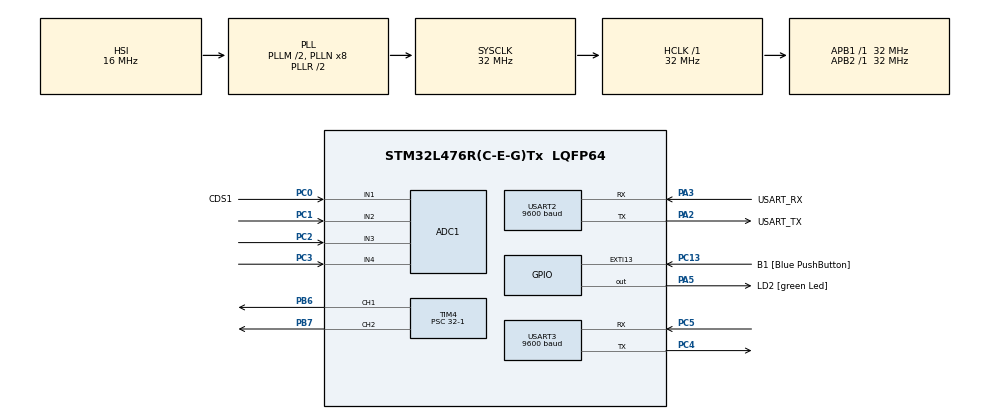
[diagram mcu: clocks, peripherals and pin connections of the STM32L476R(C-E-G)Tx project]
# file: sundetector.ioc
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ADC1.Channel-10\#ChannelRegularConversion=ADC_CHANNEL_2
ADC1.Channel-11\#ChannelRegularConversion=ADC_CHANNEL_3
ADC1.Channel-12\#ChannelRegularConversion=ADC_CHANNEL_4
ADC1.Channel-9\#ChannelRegularConversion=ADC_CHANNEL_1
ADC1.ClockPrescaler=ADC_CLOCK_ASYNC_DIV1
ADC1.ContinuousConvMode=ENABLE
ADC1.DMAContinuousRequests=ENABLE
ADC1.EOCSelection=ADC_EOC_SINGLE_CONV
ADC1.EnableRegularConversion=ENABLE
ADC1.NbrOfConversion=4
ADC1.NbrOfConversionFlag=1
ADC1.OffsetNumber-10\#ChannelRegularConversion=ADC_OFFSET_NONE
ADC1.OffsetNumber-11\#ChannelRegularConversion=ADC_OFFSET_NONE
ADC1.OffsetNumber-12\#ChannelRegularConversion=ADC_OFFSET_NONE
ADC1.OffsetNumber-9\#ChannelRegularConversion=ADC_OFFSET_NONE
ADC1.Rank-10\#ChannelRegularConversion=2
ADC1.Rank-11\#ChannelRegularConversion=3
ADC1.Rank-12\#ChannelRegularConversion=4
ADC1.Rank-9\#ChannelRegularConversion=1
ADC1.SamplingTime-10\#ChannelRegularConversion=ADC_SAMPLETIME_92CYCLES_5
ADC1.SamplingTime-11\#ChannelRegularConversion=ADC_SAMPLETIME_92CYCLES_5
ADC1.SamplingTime-12\#ChannelRegularConversion=ADC_SAMPLETIME_92CYCLES_5
ADC1.SamplingTime-9\#ChannelRegularConversion=ADC_SAMPLETIME_92CYCLES_5
ADC1.master=1
Dma.ADC1.0.Direction=DMA_PERIPH_TO_MEMORY
Dma.ADC1.0.Instance=DMA1_Channel1
Dma.ADC1.0.MemDataAlignment=DMA_MDATAALIGN_HALFWORD
Dma.ADC1.0.MemInc=DMA_MINC_ENABLE
Dma.ADC1.0.Mode=DMA_CIRCULAR
Dma.ADC1.0.PeriphDataAlignment=DMA_PDATAALIGN_HALFWORD
Dma.ADC1.0.PeriphInc=DMA_PINC_DISABLE
Dma.ADC1.0.Priority=DMA_PRIORITY_LOW
Dma.Request0=ADC1
Mcu.Family=STM32L4
Mcu.Name=STM32L476R(C-E-G)Tx
Mcu.Package=LQFP64
NVIC.DMA1_Channel1_IRQn=true\:0\:0\:false\:false\:true\:false\:true
NVIC.PriorityGroup=NVIC_PRIORITYGROUP_4
NVIC.TIM4_IRQn=true\:0\:0\:false\:false\:true\:true\:true
NVIC.USART2_IRQn=true\:0\:0\:false\:false\:true\:true\:false
NVIC.USART3_IRQn=true\:0\:0\:false\:false\:true\:true\:false
PA13\ (JTMS-SWDIO).GPIO_Label=TMS
PA13\ (JTMS-SWDIO).Mode=Serial_Wire
PA13\ (JTMS-SWDIO).Signal=SYS_JTMS-SWDIO
PA14\ (JTCK-SWCLK).GPIO_Label=TCK
PA14\ (JTCK-SWCLK).Mode=Serial_Wire
PA14\ (JTCK-SWCLK).Signal=SYS_JTCK-SWCLK
PA2.GPIO_Label=USART_TX
PA2.GPIO_Mode=GPIO_MODE_AF_PP
PA2.GPIO_PuPd=GPIO_NOPULL
PA2.GPIO_Speed=GPIO_SPEED_FREQ_VERY_HIGH
PA2.Mode=Asynchronous
PA2.Signal=USART2_TX
PA3.GPIO_Label=USART_RX
PA3.GPIO_Mode=GPIO_MODE_AF_PP
PA3.GPIO_PuPd=GPIO_NOPULL
PA3.GPIO_Speed=GPIO_SPEED_FREQ_VERY_HIGH
PA3.Mode=Asynchronous
PA3.Signal=USART2_RX
PA5.GPIO_Label=LD2 [green Led]
PA5.GPIO_ModeDefaultOutputPP=GPIO_MODE_OUTPUT_PP
PA5.GPIO_PuPd=GPIO_NOPULL
PA5.GPIO_Speed=GPIO_SPEED_FREQ_LOW
PA5.Signal=GPIO_Output
PB3\ (JTDO-TRACESWO).GPIO_Label=SWO
PB3\ (JTDO-TRACESWO).Signal=SYS_JTDO-SWO
PB6.Signal=S_TIM4_CH1
PB7.Signal=S_TIM4_CH2
PC0.GPIO_Label=CDS1
PC0.Signal=ADCx_IN1
PC1.Signal=ADCx_IN2
PC13.GPIO_Label=B1 [Blue PushButton]
PC13.GPIO_ModeDefaultEXTI=GPIO_MODE_IT_FALLING
PC13.GPIO_PuPd=GPIO_NOPULL
PC13.Signal=GPXTI13
PC14-OSC32_IN\ (PC14).Mode=LSE-External-Oscillator
PC14-OSC32_IN\ (PC14).Signal=RCC_OSC32_IN
PC15-OSC32_OUT\ (PC15).Mode=LSE-External-Oscillator
PC15-OSC32_OUT\ (PC15).Signal=RCC_OSC32_OUT
PC2.Signal=ADCx_IN3
PC3.Signal=ADCx_IN4
PC4.Mode=Asynchronous
PC4.Signal=USART3_TX
PC5.Mode=Asynchronous
PC5.Signal=USART3_RX
PH0-OSC_IN\ (PH0).Signal=RCC_OSC_IN
PH1-OSC_OUT\ (PH1).Signal=RCC_OSC_OUT
ProjectManager.HeapSize=0x200
ProjectManager.StackSize=0x400
ProjectManager.TargetToolchain=STM32CubeIDE
RCC.ADCFreq_Value=8000000
RCC.AHBFreq_Value=32000000
RCC.APB1Freq_Value=32000000
RCC.APB1TimFreq_Value=32000000
RCC.APB2Freq_Value=32000000
RCC.APB2TimFreq_Value=32000000
RCC.CortexFreq_Value=32000000
RCC.HCLKFreq_Value=32000000
RCC.HSE_VALUE=8000000
RCC.HSI_VALUE=16000000
RCC.MSI_VALUE=4000000
RCC.PLLM=2
RCC.PLLSAI1R=RCC_PLLR_DIV8
RCC.PLLSourceVirtual=RCC_PLLSOURCE_HSI
RCC.PREFETCH_ENABLE=1
RCC.SYSCLKFreq_VALUE=32000000
RCC.SYSCLKSource=RCC_SYSCLKSOURCE_PLLCLK
RCC.USBFreq_Value=32000000
RCC.VCOOutputFreq_Value=64000000
SH.ADCx_IN1.0=ADC1_IN1,IN1-Single-Ended
SH.ADCx_IN2.0=ADC1_IN2,IN2-Single-Ended
SH.ADCx_IN3.0=ADC1_IN3,IN3-Single-Ended
SH.ADCx_IN4.0=ADC1_IN4,IN4-Single-Ended
SH.S_TIM4_CH1.0=TIM4_CH1,PWM Generation1 CH1
SH.S_TIM4_CH2.0=TIM4_CH2,PWM Generation2 CH2
TIM4.AutoReloadPreload=TIM_AUTORELOAD_PRELOAD_ENABLE
TIM4.Channel-PWM\ Generation1\ CH1=TIM_CHANNEL_1
TIM4.Channel-PWM\ Generation2\ CH2=TIM_CHANNEL_2
TIM4.OCPolarity_1=TIM_OCPOLARITY_HIGH
TIM4.Period=20000-1
TIM4.Prescaler=32-1
TIM4.Pulse-PWM\ Generation1\ CH1=1750
TIM4.Pulse-PWM\ Generation2\ CH2=2000
USART2.BaudRate=9600
USART2.VirtualMode-Asynchronous=VM_ASYNC
USART3.BaudRate=9600
USART3.VirtualMode-Asynchronous=VM_ASYNC
VP_TIM4_VS_ClockSourceINT.Mode=Internal
board=NUCLEO-L476RG

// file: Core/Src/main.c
/* USER CODE BEGIN Header */
/**
  ******************************************************************************
  * @file           : main.c
  * @brief          : Main program body
  ******************************************************************************
  * @attention
  *
  * <h2><center>&copy; Copyright (c) 2021 STMicroelectronics.
  * All rights reserved.</center></h2>
  *
  * This software component is licensed by ST under BSD 3-Clause license,
  * the "License"; You may not use this file except in compliance with the
  * License. You may obtain a copy of the License at:
  *                        opensource.org/licenses/BSD-3-Clause
  *
  ******************************************************************************
  */
/* USER CODE END Header */
#include "main.h"

/* USER CODE BEGIN Includes */
#include <stdio.h>
#include <string.h>
#include "rb.h"
#include "DFRobot_queue.h"
//#include "DFRobot_wifi_iot.h"
/* USER CODE END Includes */

/* USER CODE BEGIN PD */
#define WIFISSID     "woo"
#define WIFIPWS      "12345678"

#define SERVER        "iot.dfrobot.com.cn"  //服务器地址
#define PORT          "1883"                //端口号
#define DEVICENAME    "rHpr0RcWR"           //用户名称
#define DEVICESECRET  "9NtrAg5ZRz"          //用户登录密码
#define TOPIC         "OSpwrHHMg"           //订阅频道
/* USER CODE END PD */

ADC_HandleTypeDef hadc1;
DMA_HandleTypeDef hdma_adc1;

TIM_HandleTypeDef htim4;

UART_HandleTypeDef huart2;
UART_HandleTypeDef huart3;

/* USER CODE BEGIN PV */
volatile uint16_t uwADCxConvertedValue[4];

RingFifo_t gtUart2Fifo;

/* USER CODE END PV */

void SystemClock_Config(void);
static void MX_GPIO_Init(void);
static void MX_USART2_UART_Init(void);
static void MX_TIM4_Init(void);
static void MX_DMA_Init(void);
static void MX_ADC1_Init(void);
static void MX_USART3_UART_Init(void);

/* USER CODE BEGIN 0 */
#ifdef __GNUC__
#define PUTCHAR_PROTOTYPE int __io_putchar(int ch)
#else
#define PUTCHAR_PROTOTYPE int fputc(int ch, FILE *f)
#endif /* __GNUC__ */

/**
  * @brief  Retargets the C library printf function to the USART.
  * @param  None
  * @retval None
  */
PUTCHAR_PROTOTYPE
{
  /* Place your implementation of fputc here */
  /* e.g. write a character to the UART2 and Loop until the end of transmission */
  if (ch == '\n')
    HAL_UART_Transmit (&huart2, (uint8_t*) "\r", 1, 0xFFFF);
  HAL_UART_Transmit (&huart2, (uint8_t*) &ch, 1, 0xFFFF);

  return ch;
}

char *splitdata[5];
void splitString(void){
	uint8_t count = 0;
	static struct sQueueData *p = NULL;
	p = cuappDequeue();
	if(p != NULL){
		splitdata[count] = strtok((char*)p->data, "|");
		while(splitdata[count])
		{
			splitdata[++count] = strtok(NULL, "|");
		}
	}
	free(p);
}
void mqtt(const char* url, const char *port, const char *iotid, const char *iotpwd , const char *topic)
{

	uint8_t state = 1;
	uint8_t i,j,k;

	char _mqtt[50];
	char _topic[50];
	strcat(_mqtt,"|4|1|1|");
	strcat(_mqtt,url);
	strcat(_mqtt,"|");
	strcat(_mqtt,port);
	strcat(_mqtt,"|");
	strcat(_mqtt,iotid);
	strcat(_mqtt,"|");
	strcat(_mqtt,iotpwd);
	strcat(_mqtt,"|\\r");
	printf("%s\n",_mqtt);
	for(k=0;k<50;k++)
			HAL_UART_Transmit (&huart3, (uint8_t*) _mqtt+k, 1, 0xFFFF);
	//Usart_SendStriong(USART3, _mqtt);
	memset(_mqtt,'\0',50);
	while(state == 1){
		splitString();
		if(strcmp("4",splitdata[0]) == 0){
			if(strcmp("1",splitdata[2]) == 0){
				if(strcmp("1",splitdata[3]) == 0){
					state=0;
				}else{
					printf(".");
				}
			}
		}else{
			printf(".");
		}
		for(i=0; i<5; i++){
			splitdata[i] = "\0";
		}
		HAL_Delay(100);
	}
	printf("MQTT Connect SUCCESS\n");
	state=1;
	strcat(_topic,"|4|1|2|");
	strcat(_topic,topic);
	strcat(_topic,"|\r");
	printf("%s\n",_topic);
	//HAL_UART_Transmit(&huart3, _topic, sizeof(_topic), 10);
	//Usart_SendStriong(USART3, _topic);
	for(j=0;j<50;j++)
			HAL_UART_Transmit (&huart3, (uint8_t*) _topic+j, 1, 0xFFFF);
	memset(_topic,'\0',50);
	while(state == 1){
		splitString();
		if(strcmp("4",splitdata[0]) == 0){
			if(strcmp("2",splitdata[2]) == 0){
				if(strcmp("1",splitdata[3]) == 0){
					state=0;
				}else if(strcmp("1",splitdata[4]) == 0){
					printf("Subscription limit reached");
				}else if(strcmp("2",splitdata[4]) != 0){
					printf("Subscription failed");
				}else{
					printf(".");
				}
		}else{
			printf(".");
			}
		}
		for(i=0; i<5; i++){
			splitdata[i] = "\0";
		}
		HAL_Delay(100);
	}
	printf("Subscribe Topic SUCCESS\n");
}
void publish(const char *topic,const char *masag)
{

	uint8_t state = 1;
	uint8_t i,j,k=0;
	char _data[50];
	strcat(_data,"|4|1|3|");
	strcat(_data,topic);
	strcat(_data,"|");
	strcat(_data,masag);
	strcat(_data,"|\r");
	printf("%s\n",_data);
	//HAL_UART_Transmit(&huart3, _data, sizeof(_data), 10);
	for(k=0;k<50;k++)
			HAL_UART_Transmit (&huart3, (uint8_t*) _data+k, 1, 0xFFFF);

	while(state == 1){
		splitString();
		if(strcmp("4",splitdata[0]) == 0){
			if(strcmp("3",splitdata[2]) == 0){
				if(strcmp("1",splitdata[3]) == 0){
					state=0;
					printf("Successfully sent\n");
				}else{
					printf("Failed to send message\n");
				}
			}
		}else if(j == (uint8_t)100){
			printf("time out");
			state = 0;
		}
		for(i=0; i<5; i++){
			splitdata[i] = "\0";
		}
		j++;
		HAL_Delay(100);
	}
	memset(_data,'\0',50);
}
void loop(void)
{

	uint8_t state = 1;
	uint8_t i,j=0;

	while(state == 1){
		splitString();
		if(strcmp("4",splitdata[0]) == 0){
			if(strcmp("5",splitdata[2]) == 0){
				state=0;
				printf("topic:%s\n",splitdata[3]);
				printf("massage:%s\n",splitdata[4]);
			}
		}else if(strcmp("3",splitdata[0]) == 0){
			if(strcmp("200",splitdata[1]) == 0){
				state=0;
				printf("Sent successfully\n");
				printf("massage:%s\n",splitdata[2]);
			}else if(strcmp("-1",splitdata[1]) == 0){
				printf("-1");
			}else if(strcmp("1",splitdata[1]) == 0){
				printf("1");
			}
		}else if(j == (uint8_t)100){
			printf("time out");
			state = 0;
		}
		for(i=0; i<5; i++){
			splitdata[i] = "\0";
		}
		j++;
		HAL_Delay(100);
	}
}

void connectWifi(const char *ssid , const char *pwd)
{

	char _wifi[100] = "";

	uint8_t state = 1;
	uint8_t i;
	uint8_t j;
	uint8_t k;
	uint8_t ch;
	strcat(_wifi,"|2|1|");
	strcat(_wifi,ssid);
	strcat(_wifi,",");
	strcat(_wifi,pwd);
	strcat(_wifi,"|\r");
	printf("%s\n",_wifi);
	//HAL_UART_Transmit(&huart3,_wifi,sizeof(_wifi),10);
	//USART2TransferCompleted = 0;
	//HAL_UART_Transmit(&huart2,_wifi,100,10);

	for(j=0;j<50;j++)
		HAL_UART_Transmit (&huart3, (uint8_t*) _wifi+j, 1, 0xFFFF);

	//while(!USART2TransferCompleted);
	//Usart_SendString(USART3, _wifi);
	memset(_wifi,'\0',50);
	while(1){
	  if (!RB_isempty (&gtUart2Fifo))
	  {
		  ch = RB_read (&gtUart2Fifo);
	      HAL_UART_Transmit (&huart2, &ch, 1, 0xFF);
	  }
	}
	while(state == 1){
		splitString();

		if(strcmp("2",splitdata[0]) == 0){
			if(strcmp("1",splitdata[1]) == 0){/*"3*/
				state=0;
			}else{
				printf(".");
			}
		}else{
		printf(".");
		}
		for(i=0; i<5; i++){
			splitdata[i] = "\0";
		}
		HAL_Delay(100);
	}

	for(k=0;k<5;k++){
		printf(".");
		HAL_Delay(1000);
	}

	printf("Wifi Connect SUCCESS\n");
}

/* USER CODE END 0 */

int main(void)
{

  /* MCU Configuration--------------------------------------------------------*/

  /* Reset of all peripherals, Initializes the Flash interface and the Systick. */
  HAL_Init();

  /* Configure the system clock */
  SystemClock_Config();

  /* Initialize all configured peripherals */
  MX_GPIO_Init();
  MX_USART2_UART_Init();
  MX_TIM4_Init();
  MX_DMA_Init();
  MX_ADC1_Init();
  MX_USART3_UART_Init();

  /* USER CODE BEGIN 2 */
  HAL_TIM_PWM_Start(&htim4, TIM_CHANNEL_1);
  HAL_TIM_PWM_Start(&htim4, TIM_CHANNEL_2);
  __HAL_UART_ENABLE_IT(&huart2, UART_IT_RXNE);
  /*
  if (RB_init (&gtUart2Fifo, 16)) // buffer size is power of 2
    {
      //assert(0);
    }
    */
  /* USER CODE END 2 */

  /* Infinite loop */
  /* USER CODE BEGIN WHILE */

  if (HAL_ADCEx_Calibration_Start (&hadc1,10) != HAL_OK)
    {
      Error_Handler ();
    }

  if(HAL_ADC_Start_DMA(&hadc1, (uint32_t*)&uwADCxConvertedValue, 4)!=HAL_OK)
	   	{
	  	  Error_Handler ();
	   	}
  //uint8_t ch;

  connectWifi(WIFISSID,WIFIPWS);
  //mqtt(SERVER,PORT,DEVICENAME,DEVICESECRET,TOPIC);
  while (1)
  {
	  //publish(TOPIC,"HI TANG");
	  //loop();
	  /*
	  if (!RB_isempty (&gtUart2Fifo))
	  {
		  ch = RB_read (&gtUart2Fifo);
	      HAL_UART_Transmit (&huart2, &ch, 1, 0xFF);
	  }
	  */
	  printf("hello world\n");
	  //HAL_UART_Transmit(&huart3, "hello world\n", sizeof("hello world\n"), 10);
	  HAL_Delay(1000);

	  	  /*
		 printf ("CDS1=%4d, CDS2=%4d ", uwADCxConvertedValue[0],uwADCxConvertedValue[1]);
		 printf ("CDS3=%4d, CDS4=%4d\n", uwADCxConvertedValue[2],uwADCxConvertedValue[3]);
		 HAL_Delay (500);
	     //__HAL_TIM_SET_COMPARE(&htim4, TIM_CHANNEL_1, 1000); // position 0°
	     HAL_Delay(1000);
	     //__HAL_TIM_SET_COMPARE(&htim4, TIM_CHANNEL_2, 2750); // position 0°
	     HAL_Delay(1000);*/
	  /*
     __HAL_TIM_SET_COMPARE(&htim4, TIM_CHANNEL_1, 1000); // position -90°
     HAL_Delay(1000);
     __HAL_TIM_SET_COMPARE(&htim4, TIM_CHANNEL_1, 1500); // position 0°
     HAL_Delay(1000);
     __HAL_TIM_SET_COMPARE(&htim4, TIM_CHANNEL_1, 1750); // position 45°
     HAL_Delay(1000);
     __HAL_TIM_SET_COMPARE(&htim4, TIM_CHANNEL_1, 2000); // position 90°
      HAL_Delay(1000);

	 if(HAL_ADC_Start(&hadc1) != HAL_OK)
	    {
	  	  Error_Handler ();
	    }
	 for (uint8_t i = 0; i < 4; i++)
	 	 {
	           HAL_ADC_PollForConversion (&hadc1, 100);

	           if ((HAL_ADC_GetState (&hadc1) & HAL_ADC_STATE_REG_EOC) == HAL_ADC_STATE_REG_EOC)
	             {
	               uwADCxConvertedValue[i] = HAL_ADC_GetValue (&hadc1);
	             }
	 	 }

	 HAL_ADC_Stop (&hadc1);*/

    /* USER CODE END WHILE */

  }
}

void SystemClock_Config(void)
{
  RCC_OscInitTypeDef RCC_OscInitStruct = {0};
  RCC_ClkInitTypeDef RCC_ClkInitStruct = {0};

  /** Configure the main internal regulator output voltage
  */
  if (HAL_PWREx_ControlVoltageScaling(PWR_REGULATOR_VOLTAGE_SCALE1) != HAL_OK)
  {
    Error_Handler();
  }
  /** Initializes the RCC Oscillators according to the specified parameters
  * in the RCC_OscInitTypeDef structure.
  */
  RCC_OscInitStruct.OscillatorType = RCC_OSCILLATORTYPE_HSI;
  RCC_OscInitStruct.HSIState = RCC_HSI_ON;
  RCC_OscInitStruct.HSICalibrationValue = RCC_HSICALIBRATION_DEFAULT;
  RCC_OscInitStruct.PLL.PLLState = RCC_PLL_ON;
  RCC_OscInitStruct.PLL.PLLSource = RCC_PLLSOURCE_HSI;
  RCC_OscInitStruct.PLL.PLLM = 2;
  RCC_OscInitStruct.PLL.PLLN = 8;
  RCC_OscInitStruct.PLL.PLLP = RCC_PLLP_DIV7;
  RCC_OscInitStruct.PLL.PLLQ = RCC_PLLQ_DIV2;
  RCC_OscInitStruct.PLL.PLLR = RCC_PLLR_DIV2;
  if (HAL_RCC_OscConfig(&RCC_OscInitStruct) != HAL_OK)
  {
    Error_Handler();
  }
  /** Initializes the CPU, AHB and APB buses clocks
  */
  RCC_ClkInitStruct.ClockType = RCC_CLOCKTYPE_HCLK|RCC_CLOCKTYPE_SYSCLK
                              |RCC_CLOCKTYPE_PCLK1|RCC_CLOCKTYPE_PCLK2;
  RCC_ClkInitStruct.SYSCLKSource = RCC_SYSCLKSOURCE_PLLCLK;
  RCC_ClkInitStruct.AHBCLKDivider = RCC_SYSCLK_DIV1;
  RCC_ClkInitStruct.APB1CLKDivider = RCC_HCLK_DIV1;
  RCC_ClkInitStruct.APB2CLKDivider = RCC_HCLK_DIV1;

  if (HAL_RCC_ClockConfig(&RCC_ClkInitStruct, FLASH_LATENCY_1) != HAL_OK)
  {
    Error_Handler();
  }
}

static void MX_ADC1_Init(void)
{

  ADC_MultiModeTypeDef multimode = {0};
  ADC_ChannelConfTypeDef sConfig = {0};

  /** Common config
  */
  hadc1.Instance = ADC1;
  hadc1.Init.ClockPrescaler = ADC_CLOCK_ASYNC_DIV1;
  hadc1.Init.Resolution = ADC_RESOLUTION_12B;
  hadc1.Init.DataAlign = ADC_DATAALIGN_RIGHT;
  hadc1.Init.ScanConvMode = ADC_SCAN_ENABLE;
  hadc1.Init.EOCSelection = ADC_EOC_SINGLE_CONV;
  hadc1.Init.LowPowerAutoWait = DISABLE;
  hadc1.Init.ContinuousConvMode = ENABLE;
  hadc1.Init.NbrOfConversion = 4;
  hadc1.Init.DiscontinuousConvMode = DISABLE;
  hadc1.Init.ExternalTrigConv = ADC_SOFTWARE_START;
  hadc1.Init.ExternalTrigConvEdge = ADC_EXTERNALTRIGCONVEDGE_NONE;
  hadc1.Init.DMAContinuousRequests = ENABLE;
  hadc1.Init.Overrun = ADC_OVR_DATA_PRESERVED;
  hadc1.Init.OversamplingMode = DISABLE;
  if (HAL_ADC_Init(&hadc1) != HAL_OK)
  {
    Error_Handler();
  }
  /** Configure the ADC multi-mode
  */
  multimode.Mode = ADC_MODE_INDEPENDENT;
  if (HAL_ADCEx_MultiModeConfigChannel(&hadc1, &multimode) != HAL_OK)
  {
    Error_Handler();
  }
  /** Configure Regular Channel
  */
  sConfig.Channel = ADC_CHANNEL_1;
  sConfig.Rank = ADC_REGULAR_RANK_1;
  sConfig.SamplingTime = ADC_SAMPLETIME_92CYCLES_5;
  sConfig.SingleDiff = ADC_SINGLE_ENDED;
  sConfig.OffsetNumber = ADC_OFFSET_NONE;
  sConfig.Offset = 0;
  if (HAL_ADC_ConfigChannel(&hadc1, &sConfig) != HAL_OK)
  {
    Error_Handler();
  }
  /** Configure Regular Channel
  */
  sConfig.Channel = ADC_CHANNEL_2;
  sConfig.Rank = ADC_REGULAR_RANK_2;
  if (HAL_ADC_ConfigChannel(&hadc1, &sConfig) != HAL_OK)
  {
    Error_Handler();
  }
  /** Configure Regular Channel
  */
  sConfig.Channel = ADC_CHANNEL_3;
  sConfig.Rank = ADC_REGULAR_RANK_3;
  if (HAL_ADC_ConfigChannel(&hadc1, &sConfig) != HAL_OK)
  {
    Error_Handler();
  }
  /** Configure Regular Channel
  */
  sConfig.Channel = ADC_CHANNEL_4;
  sConfig.Rank = ADC_REGULAR_RANK_4;
  if (HAL_ADC_ConfigChannel(&hadc1, &sConfig) != HAL_OK)
  {
    Error_Handler();
  }

}

static void MX_TIM4_Init(void)
{

  TIM_ClockConfigTypeDef sClockSourceConfig = {0};
  TIM_MasterConfigTypeDef sMasterConfig = {0};
  TIM_OC_InitTypeDef sConfigOC = {0};

  htim4.Instance = TIM4;
  htim4.Init.Prescaler = 32-1;
  htim4.Init.CounterMode = TIM_COUNTERMODE_UP;
  htim4.Init.Period = 20000-1;
  htim4.Init.ClockDivision = TIM_CLOCKDIVISION_DIV1;
  htim4.Init.AutoReloadPreload = TIM_AUTORELOAD_PRELOAD_ENABLE;
  if (HAL_TIM_Base_Init(&htim4) != HAL_OK)
  {
    Error_Handler();
  }
  sClockSourceConfig.ClockSource = TIM_CLOCKSOURCE_INTERNAL;
  if (HAL_TIM_ConfigClockSource(&htim4, &sClockSourceConfig) != HAL_OK)
  {
    Error_Handler();
  }
  if (HAL_TIM_PWM_Init(&htim4) != HAL_OK)
  {
    Error_Handler();
  }
  sMasterConfig.MasterOutputTrigger = TIM_TRGO_RESET;
  sMasterConfig.MasterSlaveMode = TIM_MASTERSLAVEMODE_DISABLE;
  if (HAL_TIMEx_MasterConfigSynchronization(&htim4, &sMasterConfig) != HAL_OK)
  {
    Error_Handler();
  }
  sConfigOC.OCMode = TIM_OCMODE_PWM1;
  sConfigOC.Pulse = 1750;
  sConfigOC.OCPolarity = TIM_OCPOLARITY_HIGH;
  sConfigOC.OCFastMode = TIM_OCFAST_DISABLE;
  if (HAL_TIM_PWM_ConfigChannel(&htim4, &sConfigOC, TIM_CHANNEL_1) != HAL_OK)
  {
    Error_Handler();
  }
  sConfigOC.Pulse = 2000;
  if (HAL_TIM_PWM_ConfigChannel(&htim4, &sConfigOC, TIM_CHANNEL_2) != HAL_OK)
  {
    Error_Handler();
  }
  HAL_TIM_MspPostInit(&htim4);

}

static void MX_USART2_UART_Init(void)
{

  huart2.Instance = USART2;
  huart2.Init.BaudRate = 9600;
  huart2.Init.WordLength = UART_WORDLENGTH_8B;
  huart2.Init.StopBits = UART_STOPBITS_1;
  huart2.Init.Parity = UART_PARITY_NONE;
  huart2.Init.Mode = UART_MODE_TX_RX;
  huart2.Init.HwFlowCtl = UART_HWCONTROL_NONE;
  huart2.Init.OverSampling = UART_OVERSAMPLING_16;
  huart2.Init.OneBitSampling = UART_ONE_BIT_SAMPLE_DISABLE;
  huart2.AdvancedInit.AdvFeatureInit = UART_ADVFEATURE_NO_INIT;
  if (HAL_UART_Init(&huart2) != HAL_OK)
  {
    Error_Handler();
  }

}

static void MX_USART3_UART_Init(void)
{

  huart3.Instance = USART3;
  huart3.Init.BaudRate = 9600;
  huart3.Init.WordLength = UART_WORDLENGTH_8B;
  huart3.Init.StopBits = UART_STOPBITS_1;
  huart3.Init.Parity = UART_PARITY_NONE;
  huart3.Init.Mode = UART_MODE_TX_RX;
  huart3.Init.HwFlowCtl = UART_HWCONTROL_NONE;
  huart3.Init.OverSampling = UART_OVERSAMPLING_16;
  huart3.Init.OneBitSampling = UART_ONE_BIT_SAMPLE_DISABLE;
  huart3.AdvancedInit.AdvFeatureInit = UART_ADVFEATURE_NO_INIT;
  if (HAL_UART_Init(&huart3) != HAL_OK)
  {
    Error_Handler();
  }

}

static void MX_DMA_Init(void)
{

  /* DMA controller clock enable */
  __HAL_RCC_DMA1_CLK_ENABLE();

  /* DMA interrupt init */
  /* DMA1_Channel1_IRQn interrupt configuration */
  HAL_NVIC_SetPriority(DMA1_Channel1_IRQn, 0, 0);
  HAL_NVIC_EnableIRQ(DMA1_Channel1_IRQn);

}

static void MX_GPIO_Init(void)
{
  GPIO_InitTypeDef GPIO_InitStruct = {0};

  /* GPIO Ports Clock Enable */
  __HAL_RCC_GPIOC_CLK_ENABLE();
  __HAL_RCC_GPIOH_CLK_ENABLE();
  __HAL_RCC_GPIOA_CLK_ENABLE();
  __HAL_RCC_GPIOB_CLK_ENABLE();

  /*Configure GPIO pin Output Level */
  HAL_GPIO_WritePin(LD2_GPIO_Port, LD2_Pin, GPIO_PIN_RESET);

  /*Configure GPIO pin : B1_Pin */
  GPIO_InitStruct.Pin = B1_Pin;
  GPIO_InitStruct.Mode = GPIO_MODE_IT_FALLING;
  GPIO_InitStruct.Pull = GPIO_NOPULL;
  HAL_GPIO_Init(B1_GPIO_Port, &GPIO_InitStruct);

  /*Configure GPIO pin : LD2_Pin */
  GPIO_InitStruct.Pin = LD2_Pin;
  GPIO_InitStruct.Mode = GPIO_MODE_OUTPUT_PP;
  GPIO_InitStruct.Pull = GPIO_NOPULL;
  GPIO_InitStruct.Speed = GPIO_SPEED_FREQ_LOW;
  HAL_GPIO_Init(LD2_GPIO_Port, &GPIO_InitStruct);

}

/* USER CODE BEGIN 4 */

void
HAL_UART_RxCpltCallback (UART_HandleTypeDef *UartHandle)
{
  uint8_t rx;

  if (UartHandle->Instance == USART3)
    {
      rx = (uint8_t) (UartHandle->Instance->RDR & (uint8_t) 0x00FF);
      RB_write (&gtUart2Fifo, rx);
    }
}

/* USER CODE END 4 */

void Error_Handler(void)
{
  __disable_irq();
  while (1)
  {
  }
}

/************************ (C) COPYRIGHT STMicroelectronics *****END OF FILE****/
